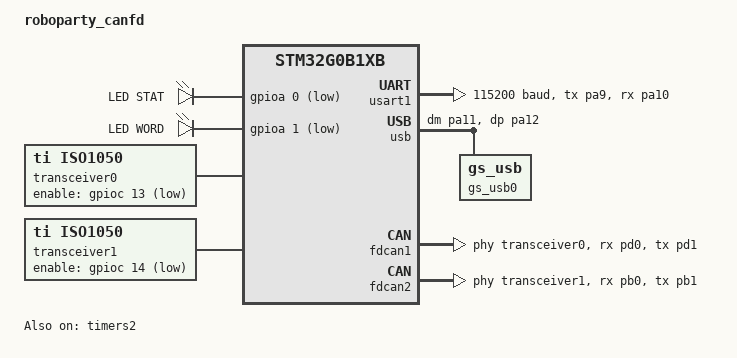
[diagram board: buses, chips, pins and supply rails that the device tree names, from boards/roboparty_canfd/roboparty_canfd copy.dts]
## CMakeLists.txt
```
# SPDX-License-Identifier: Apache-2.0

cmake_minimum_required(VERSION 3.20.0)

set(CMAKE_EXPORT_COMPILE_COMMANDS ON)
set(BOARD_ROOT ${CMAKE_CURRENT_LIST_DIR})
set(NO_BUILD_TYPE_WARNING TRUE)

find_package(Zephyr REQUIRED HINTS $ENV{ZEPHYR_BASE})
project(roboto_usb2can)

# Version definition
set(APP_VERSION_MAJOR 2)
set(APP_VERSION_MINOR 0)
set(APP_VERSION_PATCH 0)

# Get build date
string(TIMESTAMP BUILD_DATE "%Y%m%d" UTC)

configure_file(src/version.h.in ${CMAKE_CURRENT_BINARY_DIR}/src/version.h)
target_include_directories(app PRIVATE ${CMAKE_CURRENT_BINARY_DIR}/src)

target_sources(app PRIVATE src/main.c src/led.c)

# Print version info for reference
message(STATUS "Building roboto_usb2can v${APP_VERSION_MAJOR}.${APP_VERSION_MINOR}.${APP_VERSION_PATCH} (${BUILD_DATE})")

# Define version as compile definitions
target_compile_definitions(app PRIVATE
  APP_VERSION_MAJOR=${APP_VERSION_MAJOR}
  APP_VERSION_MINOR=${APP_VERSION_MINOR}
  APP_VERSION_PATCH=${APP_VERSION_PATCH}
  BUILD_DATE=\"${BUILD_DATE}\"
)

# Create versioned release files when building in Release mode
if(CMAKE_BUILD_TYPE STREQUAL "Release" OR NOT CMAKE_BUILD_TYPE)
  set(VERSION_NAME "roboto_usb2can_v${APP_VERSION_MAJOR}.${APP_VERSION_MINOR}.${APP_VERSION_PATCH}_${BUILD_DATE}")

  add_custom_target(release_files
    COMMAND ${CMAKE_COMMAND} -E copy_if_different
    ${CMAKE_CURRENT_BINARY_DIR}/zephyr/zephyr.bin
    ${CMAKE_CURRENT_BINARY_DIR}/zephyr/${VERSION_NAME}.bin
    COMMENT "Creating release binary: ${VERSION_NAME}.bin"
    VERBATIM
  )

  message(STATUS "Release mode: Will create versioned binary ${VERSION_NAME}.bin")
  message(STATUS "Run 'cmake --build . --target release_files' after build to generate release binary")
endif()
```

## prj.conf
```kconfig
# CAN Configuration
CONFIG_CAN=y
CONFIG_STATS=y
CONFIG_CAN_STATS=y
CONFIG_CAN_FD_MODE=n
CONFIG_CAN_LOG_LEVEL_DBG=n
CONFIG_DEPRECATION_TEST=y

# UDC Buffer
CONFIG_UDC_BUF_COUNT=128
CONFIG_UDC_BUF_POOL_SIZE=4096
CONFIG_HEAP_MEM_POOL_SIZE=2048
CONFIG_MAIN_STACK_SIZE=2048
CONFIG_SYSTEM_WORKQUEUE_STACK_SIZE=2048
CONFIG_ISR_STACK_SIZE=1536

# GS-USB Support - Legacy Driver
# CONFIG_USB_DEVICE_STACK=y
# CONFIG_USB_DEVICE_PRODUCT="roboto_usb2can"
# CONFIG_USB_DEVICE_MANUFACTURER="wentywenty"
# CONFIG_USB_DEVICE_VID=0x1D50
# CONFIG_USB_DEVICE_PID=0x606F
# CONFIG_USB_DEVICE_BOS=y
# CONFIG_USB_DEVICE_GS_USB=y
# CONFIG_USB_DEVICE_GS_USB_MAX_CHANNELS=2
# CONFIG_USB_DEVICE_GS_USB_LOG_LEVEL_DBG=y
# CONFIG_USB_DEVICE_GS_USB_IDENTIFICATION=y
# CONFIG_USB_DEVICE_GS_USB_TIMESTAMP=y
# CONFIG_USB_DEVICE_GS_USB_TERMINATION=n

# USB Configuration - New Stack
CONFIG_USB_DEVICE_STACK_NEXT=y
CONFIG_USB_DEVICE_INITIALIZE_AT_BOOT=n
# GS-USB Support - New Driver
CONFIG_USBD_GS_USB=y
CONFIG_USBD_GS_USB_MAX_CHANNELS=1
CONFIG_USBD_GS_USB_LOG_LEVEL_DBG=n
CONFIG_USBD_GS_USB_IDENTIFICATION=n
CONFIG_USBD_GS_USB_TIMESTAMP=n
CONFIG_USBD_GS_USB_TERMINATION=n
CONFIG_USBD_GS_USB_COMPATIBILITY_MODE=y
# Thread Priority Optimization
CONFIG_USBD_GS_USB_POOL_SIZE=64
CONFIG_USBD_GS_USB_RX_THREAD_PRIO=-1
CONFIG_USBD_GS_USB_TX_THREAD_PRIO=-1
CONFIG_USBD_GS_USB_RX_THREAD_STACK_SIZE=2048
CONFIG_USBD_GS_USB_TX_THREAD_STACK_SIZE=2048

# Logging
CONFIG_SERIAL=n
CONFIG_CONSOLE=n
CONFIG_LOG=n
CONFIG_USBD_LOG_LEVEL_WRN=n
CONFIG_USBD_GS_USB_LOG_LEVEL_INF=n
CONFIG_USBD_GS_USB_LOG_LEVEL_DBG=n
CONFIG_CAN_LOG_LEVEL_WRN=n
# CONFIG_USB_DRIVER_LOG_LEVEL_OFF=y
# CONFIG_LOG_MODE_DEFERRED=y
# CONFIG_LOG_DEFAULT_LEVEL=3
# CONFIG_LOG_BUFFER_SIZE=8192
# CONFIG_USE_SEGGER_RTT=n
# CONFIG_RTT_CONSOLE=n
# CONFIG_LOG_BACKEND_RTT=n
# CONFIG_LOG_BACKEND_UART=y
# CONFIG_UART_CONSOLE=y

# Disable Unnecessary Features
CONFIG_ASSERT=n
CONFIG_THREAD_NAME=n
CONFIG_THREAD_MONITOR=n
CONFIG_INIT_STACKS=n
CONFIG_DEBUG=n
CONFIG_SIZE_OPTIMIZATIONS=y
# CONFIG_THREAD_STACK_INFO=n
```

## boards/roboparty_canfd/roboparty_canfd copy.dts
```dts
/dts-v1/;
/*
 * Copyright (c) 2024 Sean Nyekjaer <sean@geanix.com>
 *
 *  SPDX-License-Identifier: Apache-2.0
 */

#include <st/g0/stm32g0b1Xb.dtsi>
#include <st/g0/stm32g0b1r(b-c-e)tx-pinctrl.dtsi>

/ {
    model = "roboparty_canfd";
    compatible = "candlelightfd";

    chosen {
        zephyr,sram = &sram0;
        zephyr,flash = &flash0;
        zephyr,code-partition = &slot0_partition;
        zephyr,canbus = &fdcan1;
        zephyr,console = &usart1;  /* 添加控制台 */
        zephyr,shell-uart = &usart1;  /* 添加 shell */
    };

    aliases {
        led0 = &led_stat;           // 主状态指示灯
        mcuboot-led0 = &led_word;   // DFU 指示灯
    };

    leds {
        compatible = "gpio-leds";

        led_stat: led_stat {
            gpios = <&gpioa 0 GPIO_ACTIVE_LOW>;
            label = "LED STAT";
        };

        led_word: led_word {
            gpios = <&gpioa 1 GPIO_ACTIVE_LOW>;
            label = "LED WORD";
        };
    };

    transceiver0: can-phy0 {
        compatible = "ti,iso1050", "can-transceiver-gpio";
        enable-gpios = <&gpioc 13 GPIO_ACTIVE_LOW>;  /* 使用未使用的引脚 */
        max-bitrate = <5000000>;
        #phy-cells = <0>;
    };

    transceiver1: can-phy1 {
        compatible = "ti,iso1050", "can-transceiver-gpio";
        enable-gpios = <&gpioc 14 GPIO_ACTIVE_LOW>;  /* 使用未使用的引脚 */
        max-bitrate = <5000000>;
        #phy-cells = <0>;
    };

    cannectivity: cannectivity {
        compatible = "cannectivity";
        timestamp-counter = <&counter2>;

        channel0 {
            compatible = "cannectivity-channel";
            can-controller = <&fdcan1>;
            // state-led = <&led_stat>;
            // activity-leds = <&led_stat>;
        };

        channel1 {
            compatible = "cannectivity-channel";
            can-controller = <&fdcan2>;
            // state-led = <&led_word>;
            // activity-leds = <&led_word>;
        };
    };
};

&clk_hsi {
    status = "okay";
};

&clk_hsi48 {
    status = "okay";
    // crs-usb-sof;
};

&pll {
    div-m = <1>;
    mul-n = <8>;
    div-p = <2>;
    div-q = <2>;
    div-r = <2>;
    clocks = <&clk_hsi>;
    status = "okay";
};

&rcc {
    clocks = <&pll>;
    clock-frequency = <DT_FREQ_M(64)>;
    ahb-prescaler = <1>;
    apb1-prescaler = <1>;
};

&usart1 {
    pinctrl-0 = <&usart1_tx_pa9 &usart1_rx_pa10>;
    pinctrl-names = "default";
    current-speed = <115200>;
    status = "okay";
};

zephyr_udc0: &usb {
    pinctrl-0 = <&usb_dm_pa11 &usb_dp_pa12>;
    pinctrl-names = "default";
    status = "okay";

    /* gs_usb 设备节点 */
    gs_usb0: gs_usb0 {
        compatible = "gs_usb";
    };
};

&fdcan1 {
    clocks = <&rcc STM32_CLOCK(APB1, 12)>,
         <&rcc STM32_SRC_PLL_Q FDCAN_SEL(1)>;
    pinctrl-0 = <&fdcan1_rx_pd0 &fdcan1_tx_pd1>;
    pinctrl-names = "default";
    phys = <&transceiver0>; 
    status = "okay";
};

&fdcan2 {
    clocks = <&rcc STM32_CLOCK(APB1, 12)>,
         <&rcc STM32_SRC_PLL_Q FDCAN_SEL(1)>;
    pinctrl-0 = <&fdcan2_rx_pb0 &fdcan2_tx_pb1>;
    pinctrl-names = "default";
    phys = <&transceiver1>;
    status = "okay";
};

/* 1MHz 时间戳计数器 (64MHz / 64 = 1MHz) */
&timers2 {
    status = "okay";
    st,prescaler = <63>;

    counter2: counter {
        compatible = "st,stm32-counter";
        status = "okay";
    };
};

&flash0 {
    partitions {
        compatible = "fixed-partitions";
        #address-cells = <1>;
        #size-cells = <1>;

        boot_partition: partition@0 {
            label = "mcuboot";
            reg = <0x00000000 DT_SIZE_K(48)>;
            read-only;
        };

        slot0_partition: partition@c000 {
            label = "image-0";
            reg = <0x0000c000 DT_SIZE_K(80)>;
        };
    };
};
```

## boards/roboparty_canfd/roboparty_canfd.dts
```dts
/dts-v1/;
/*
 * Copyright (c) 2025 roboparty <2321901849@qq.com>
 *
 *  SPDX-License-Identifier: Apache-2.0
 */

#include <st/g4/stm32g431X8.dtsi>
#include <st/g4/stm32g431c(6-8-b)tx-pinctrl.dtsi>

/ {
    model = "roboparty_canfd";
    compatible = "candlelightfd";

    chosen {
        zephyr,sram = &sram0;
        zephyr,flash = &flash0;
        zephyr,canbus = &fdcan1;
    };

	aliases {
		led0 = &blue_led;
		led1 = &green_led;
	};

	leds: leds {
		compatible = "gpio-leds";

		blue_led: led_2 {
			gpios = <&gpioa 15 GPIO_ACTIVE_LOW>;
			label = "blue-status D2";
		};

		green_led: led_3 {
			gpios = <&gpioa 0 GPIO_ACTIVE_LOW>;
			label = "green-word D3";
		};
	};

    transceiver0: can-phy0 {
        compatible = "ti,iso1050", "can-transceiver-gpio";
        enable-gpios = <&gpioc 13 GPIO_ACTIVE_LOW>; 
        max-bitrate = <5000000>;
        #phy-cells = <0>;
    };

    transceiver1: can-phy1 {
        compatible = "ti,iso1050", "can-transceiver-gpio";
        enable-gpios = <&gpioc 14 GPIO_ACTIVE_LOW>; 
        max-bitrate = <5000000>;
        #phy-cells = <0>;
    };

    cannectivity: cannectivity {
        compatible = "cannectivity";
		timestamp-counter = <&counters2>;

        channel0 {
            compatible = "cannectivity-channel";
            can-controller = <&fdcan1>;
			state-led = <&blue_led>;
			activity-leds = <&green_led>;
        };
    };

    gs_usb0: gs_usb0 {
		compatible = "gs_usb";
		label = "gs_usb";
	};
};

&clk_hsi {
    status = "okay";
};

&clk_hsi48 {
    status = "okay";
    // crs-usb-sof;
};

/* Adjust the pll for a SYSTEM Clock of 160 MHz  */
&pll {
	div-m = <4>;
	mul-n = <80>;
	div-p = <2>;
	div-q = <4>;
	div-r = <2>;
	clocks = <&clk_hsi>;
	status = "okay";
};

&rcc {
	clocks = <&pll>;
	clock-frequency = <DT_FREQ_M(160)>;
	ahb-prescaler = <1>;
	apb1-prescaler = <1>;
	apb2-prescaler = <1>;
};

zephyr_udc0: &usb {
	pinctrl-0 = <&usb_dm_pa11 &usb_dp_pa12>;
	pinctrl-names = "default";
	clocks = <&rcc STM32_CLOCK(APB1, 23)>,
		 <&rcc STM32_SRC_HSI48 CLK48_SEL(0)>;
	status = "okay";
};

&fdcan1 {
	pinctrl-0 = <&fdcan1_rx_pb8 &fdcan1_tx_pb9>;
	pinctrl-names = "default";
	clocks = <&rcc STM32_CLOCK(APB1, 25)>,
		 <&rcc STM32_SRC_PLL_Q FDCAN_SEL(1)>;
	status = "okay";
};

/* 1MHz Timestamp Counter (64MHz / 64 = 1MHz) */
stm32_lp_tick_source: &lptim1 {
	clocks = <&rcc STM32_CLOCK(APB1, 31)>,
		 <&rcc STM32_SRC_LSI LPTIM1_SEL(3)>;
		//  <&rcc STM32_SRC_LSE LPTIM1_SEL(3)>;
	status = "okay";
};

&timers2 {
	st,prescaler = <159>;
	counters2: counter {
		status = "okay";
	};
};
```

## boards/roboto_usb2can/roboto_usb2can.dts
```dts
/dts-v1/;
/*
 * Copyright (c) 2025 roboparty <2321901849@qq.com>
 *
 *  SPDX-License-Identifier: Apache-2.0
 */

#include <st/g4/stm32g431X8.dtsi>
#include <st/g4/stm32g431c(6-8-b)tx-pinctrl.dtsi>

/ {
    model = "roboto_usb2can";
    compatible = "candlelightfd";

    chosen {
        zephyr,sram = &sram0;
        zephyr,flash = &flash0;
        zephyr,canbus = &fdcan1;
    };

	aliases {
		led0 = &blue_led;
		led1 = &green_led;
	};

	leds: leds {
		compatible = "gpio-leds";

		blue_led: led_2 {
			gpios = <&gpioa 15 GPIO_ACTIVE_LOW>;
			label = "blue-status D2";
		};

		green_led: led_3 {
			gpios = <&gpioa 0 GPIO_ACTIVE_LOW>;
			label = "green-word D3";
		};
	};

    transceiver0: can-phy0 {
        compatible = "ti,iso1050", "can-transceiver-gpio";
        enable-gpios = <&gpioc 13 GPIO_ACTIVE_LOW>; 
        max-bitrate = <5000000>;
        #phy-cells = <0>;
    };

    transceiver1: can-phy1 {
        compatible = "ti,iso1050", "can-transceiver-gpio";
        enable-gpios = <&gpioc 14 GPIO_ACTIVE_LOW>; 
        max-bitrate = <5000000>;
        #phy-cells = <0>;
    };

    cannectivity: cannectivity {
        compatible = "cannectivity";
		timestamp-counter = <&counters2>;

        channel0 {
            compatible = "cannectivity-channel";
            can-controller = <&fdcan1>;
			state-led = <&blue_led>;
			activity-leds = <&green_led>;
        };
    };

    gs_usb0: gs_usb0 {
		compatible = "gs_usb";
		label = "gs_usb";
	};
};

&clk_hsi {
    status = "okay";
};

&clk_hsi48 {
    status = "okay";
    // crs-usb-sof;
};

/* Adjust the pll for a SYSTEM Clock of 160 MHz  */
&pll {
	div-m = <4>;
	mul-n = <80>;
	div-p = <2>;
	div-q = <4>;
	div-r = <2>;
	clocks = <&clk_hsi>;
	status = "okay";
};

&rcc {
	clocks = <&pll>;
	clock-frequency = <DT_FREQ_M(160)>;
	ahb-prescaler = <1>;
	apb1-prescaler = <1>;
	apb2-prescaler = <1>;
};

zephyr_udc0: &usb {
	pinctrl-0 = <&usb_dm_pa11 &usb_dp_pa12>;
	pinctrl-names = "default";
	clocks = <&rcc STM32_CLOCK(APB1, 23)>,
		 <&rcc STM32_SRC_HSI48 CLK48_SEL(0)>;
	status = "okay";
};

&fdcan1 {
	pinctrl-0 = <&fdcan1_rx_pb8 &fdcan1_tx_pb9>;
	pinctrl-names = "default";
	clocks = <&rcc STM32_CLOCK(APB1, 25)>,
		 <&rcc STM32_SRC_PLL_Q FDCAN_SEL(1)>;
	status = "okay";
};

/* 1MHz Timestamp Counter (64MHz / 64 = 1MHz) */
stm32_lp_tick_source: &lptim1 {
	clocks = <&rcc STM32_CLOCK(APB1, 31)>,
		 <&rcc STM32_SRC_LSI LPTIM1_SEL(3)>;
		//  <&rcc STM32_SRC_LSE LPTIM1_SEL(3)>;
	status = "okay";
};

&timers2 {
	st,prescaler = <159>;
	counters2: counter {
		status = "okay";
	};
};
```

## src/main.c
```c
#include "roboto_usb2can.h"

LOG_MODULE_REGISTER(main, LOG_LEVEL_INF);

#ifdef CONFIG_USB_DEVICE_STACK_NEXT
/* New USB stack: Define USB device context */
USBD_DEVICE_DEFINE(usbd, DEVICE_DT_GET(DT_NODELABEL(zephyr_udc0)), 0x1D50, 0x606F);

USBD_DESC_LANG_DEFINE(lang);
USBD_DESC_MANUFACTURER_DEFINE(mfr, "wentywenty");
USBD_DESC_PRODUCT_DEFINE(product, "roboto_usb2can");
USBD_DESC_SERIAL_NUMBER_DEFINE(sn);
USBD_DESC_CONFIG_DEFINE(fs_config_desc, "Full-Speed Configuration");
USBD_CONFIGURATION_DEFINE(fs_config, 0, 250, &fs_config_desc);
#endif

/**
 * @brief Microsoft OS 2.0 descriptor vendor request handler
 *
 * Handles Windows-specific vendor requests for MSOS 2.0 descriptors,
 * enabling automatic WinUSB driver binding without manual driver installation.
 *
 * @param ctx USB device context
 * @param setup USB setup packet containing the request
 * @param buf Network buffer for response data
 * @return 0 on success, -ENOTSUP for unsupported requests
 */
static int msos_vendor_handler(const struct usbd_context *const ctx,
			       const struct usb_setup_packet *const setup,
			       struct net_buf *const buf)
{
	if (setup->bRequest == 0x01 && setup->wIndex == MS_OS_20_DESCRIPTOR_INDEX) {
		size_t len = sizeof(msos2_desc);
		net_buf_add_mem(buf, &msos2_desc, MIN(net_buf_tailroom(buf), len));
		LOG_INF("Windows requested MSOS2 descriptor");
		return 0;
	}
	return -ENOTSUP;
}

/* Register BOS Descriptors */
USBD_DESC_BOS_DEFINE(bos_lpm, sizeof(bos_cap_lpm), &bos_cap_lpm);
USBD_DESC_BOS_VREQ_DEFINE(bos_msosv2, sizeof(bos_cap_msosv2), &bos_cap_msosv2, 0x01,
			  msos_vendor_handler, NULL);

/**
 * @brief CAN state change callback - Error monitoring and protection
 *
 * This callback monitors CAN bus state changes and implements error protection
 * mechanisms including error frame flood detection and automatic bus-off recovery.
 *
 * @param dev Pointer to the CAN device
 * @param state Current CAN bus state
 * @param err_cnt CAN error counters (TX/RX)
 * @param user_data User data pointer (channel index)
 */
static void can_state_change_callback(const struct device *dev, enum can_state state,
				      struct can_bus_err_cnt err_cnt, void *user_data)
{
	int ch = 0; /* Currently only supports single channel, multi-channel needs matching via
		       user_data or dev */
	struct can_error_monitor *mon = &err_monitors[ch];
	int64_t now = k_uptime_get();

	/* Reset statistics window */
	if ((now - mon->window_start_ms) > CAN_ERR_WINDOW_MS) {
		mon->err_frame_count = 0;
		mon->window_start_ms = now;
		mon->throttled = false;
	}

	/* Error frame count */
	if (state != CAN_STATE_ERROR_ACTIVE) {
		mon->err_frame_count++;
	}

	/* Error frame flood detection */
	if (mon->err_frame_count > CAN_ERR_FRAME_THRESHOLD) {
		if (!mon->throttled) {
			LOG_ERR("CH%d: Error frame flood detected (%u/s), throttling", ch,
				mon->err_frame_count);
			mon->throttled = true;
			/* USB error and CAN error */
			status_led_usb_set(LED_USB_ERROR);
			status_led_can_set(CAN_LED_ERROR);
		}
		/* Actively enter Bus-Off to protect bus */
		if (!mon->forced_busoff) {
			LOG_ERR("CH%d: Forcing Bus-Off to prevent bus freeze", ch);
			can_stop(dev);
			mon->forced_busoff = true;
			return;
		}
	}

	/* Handle different error states */
	switch (state) {
	case CAN_STATE_ERROR_ACTIVE:
		LOG_DBG("CH%d: CAN ERROR_ACTIVE (TEC=%u, REC=%u)", ch, err_cnt.tx_err_cnt,
			err_cnt.rx_err_cnt);
		mon->err_passive_count = 0; /* Reset count after recovery */
		mon->forced_busoff = false;
		/* CAN back to normal */
		status_led_can_set(CAN_LED_ACTIVE);
		break;

	case CAN_STATE_ERROR_WARNING:
		LOG_WRN("CH%d: CAN ERROR_WARNING (TEC=%u, REC=%u)", ch, err_cnt.tx_err_cnt,
			err_cnt.rx_err_cnt);
		/* CAN warning state */
		status_led_can_set(CAN_LED_WARNING);
		break;

	case CAN_STATE_ERROR_PASSIVE:
		mon->err_passive_count++;
		LOG_WRN("CH%d: CAN ERROR_PASSIVE #%u (TEC=%u, REC=%u)", ch, mon->err_passive_count,
			err_cnt.tx_err_cnt, err_cnt.rx_err_cnt);
		/* CAN error state */
		status_led_can_set(CAN_LED_ERROR);

		/* Persistent ERROR_PASSIVE -> active Bus-Off */
		if (mon->err_passive_count > CAN_ERR_PASSIVE_LIMIT) {
			LOG_ERR("CH%d: Persistent ERROR_PASSIVE (%u times), forcing Bus-Off", ch,
				mon->err_passive_count);
			can_stop(dev);
			mon->forced_busoff = true;
			/* USB error and CAN off */
			status_led_usb_set(LED_USB_ERROR);
			status_led_can_set(CAN_LED_OFF);
		}
		break;

	case CAN_STATE_BUS_OFF:
		LOG_ERR("CH%d: CAN BUS_OFF (TEC=%u, REC=%u)", ch, err_cnt.tx_err_cnt,
			err_cnt.rx_err_cnt);
		mon->forced_busoff = true;
		/* USB error and CAN off */
		status_led_usb_set(LED_USB_ERROR);
		status_led_can_set(CAN_LED_OFF);
		break;

	case CAN_STATE_STOPPED:
		LOG_INF("CH%d: CAN STOPPED", ch);
		/* CAN stopped */
		status_led_can_set(CAN_LED_OFF);
		break;
	}
}

/**
 * @brief Main application entry point
 *
 * Initializes the roboto_usb2can adapter including:
 * - Status LED system
 * - CAN error monitoring
 * - GS-USB protocol stack
 * - USB device configuration (WinUSB support)
 *
 * @return 0 on success, negative error code on failure
 */
int main(void)
{
	const struct device *gs_usb = DEVICE_DT_GET(DT_NODELABEL(gs_usb0));
	const struct device *channels[] = {DEVICE_DT_GET(DT_NODELABEL(fdcan1))};
	struct gs_usb_ops ops = {
		.event = status_led_event,
	};
	int err;

	/* Initialize status LED */
	err = status_led_init();
	if (err) {
		LOG_ERR("Failed to initialize status LED (err %d)", err);
	}

	printk("*** roboto_usb2can adapter v%s ***\n", APP_VERSION_STR);

	/* Initialize CAN error monitoring */
	for (int i = 0; i < ARRAY_SIZE(can_devices); i++) {
		if (!device_is_ready(can_devices[i])) {
			LOG_ERR("CAN device %d not ready", i);
			continue;
		}

		/* Register CAN state change callback */
		can_set_state_change_callback(can_devices[i], can_state_change_callback,
					      (void *)(intptr_t)i);
		LOG_INF("CAN error monitoring enabled for channel %d", i);

		/* Initialize error monitor */
		err_monitors[i].window_start_ms = k_uptime_get();
	}

	if (!device_is_ready(gs_usb)) {
		LOG_ERR("gs_usb not ready");
		return -1;
	}

	/* Register gs_usb device and channels, and set event callback */
	err = gs_usb_register(gs_usb, channels, ARRAY_SIZE(channels), &ops, NULL);
	if (err != 0) {
		LOG_ERR("failed to register gs_usb (err %d)", err);
		return err;
	}

#ifdef CONFIG_USB_DEVICE_STACK_NEXT
	/* New USB stack initialization */
	err = usbd_add_descriptor(&usbd, &lang);
	if (err != 0) {
		LOG_ERR("failed to add language descriptor (err %d)", err);
		return err;
	}

	err = usbd_add_descriptor(&usbd, &mfr);
	if (err != 0) {
		LOG_ERR("failed to add manufacturer descriptor (err %d)", err);
		return err;
	}

	err = usbd_add_descriptor(&usbd, &product);
	if (err != 0) {
		LOG_ERR("failed to add product descriptor (err %d)", err);
		return err;
	}

	err = usbd_add_descriptor(&usbd, &sn);
	if (err != 0) {
		LOG_ERR("failed to add serial number descriptor (err %d)", err);
		return err;
	}

	err = usbd_add_configuration(&usbd, USBD_SPEED_FS, &fs_config);
	if (err != 0) {
		LOG_ERR("failed to add full-speed configuration (err %d)", err);
		return err;
	}

	err = usbd_register_class(&usbd, "gs_usb_0", USBD_SPEED_FS, 1);
	if (err != 0) {
		LOG_ERR("failed to register gs_usb class (err %d)", err);
		return err;
	}

	err = usbd_device_set_code_triple(&usbd, USBD_SPEED_FS, 0, 0, 0);
	if (err != 0) {
		LOG_ERR("failed to set code triple (err %d)", err);
		return err;
	}

	/* Set USB version to 2.0.1 to trigger BOS descriptor read (required for WinUSB) */
	err = usbd_device_set_bcd_usb(&usbd, USBD_SPEED_FS, USB_SRN_2_0_1);
	if (err != 0) {
		LOG_ERR("failed to set FS bcdUSB (err %d)", err);
		return err;
	}

	/* Set device version */
	err = usbd_device_set_bcd_device(&usbd, APP_VERSION_BCD);
	if (err != 0) {
		LOG_ERR("failed to set bcdDevice (err %d)", err);
		return err;
	}

	err = usbd_add_descriptor(&usbd, &bos_lpm);
	if (err != 0) {
		LOG_ERR("failed to add BOS LPM descriptor (err %d)", err);
		return err;
	}

	err = usbd_add_descriptor(&usbd, &bos_msosv2);
	if (err != 0) {
		LOG_ERR("failed to add BOS MSOS2 descriptor (err %d)", err);
		return err;
	}

	err = usbd_init(&usbd);
	if (err != 0) {
		LOG_ERR("failed to initialize USB device (err %d)", err);
		return err;
	}

	err = usbd_enable(&usbd);
	if (err != 0) {
		LOG_ERR("failed to enable USB device (err %d)", err);
		return err;
	}
#else
	/* Old USB stack */
	err = usb_enable(NULL);
	if (err != 0) {
		LOG_ERR("failed to enable USB (err %d)", err);
		return err;
	}
#endif

	LOG_INF("roboto_usb2can initialized with %u channels", ARRAY_SIZE(channels));

	/* Set LED to USB ready state */
	status_led_usb_set(LED_USB_READY);
	LOG_INF("WinUSB support enabled - plug and play on Windows 8.1+");

	return 0;
}
```

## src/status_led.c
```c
/*
 * Status LED management for roboto_usb2can
 */

#include "status_led.h"
#include <cannectivity/usb/class/gs_usb.h>
#include <zephyr/device.h>
#include <zephyr/drivers/gpio.h>
#include <zephyr/kernel.h>
#include <zephyr/logging/log.h>

LOG_MODULE_REGISTER(status_led, LOG_LEVEL_INF);

/* Spurious STOPPED event filtering (prevent Linux 5/6.1 kernel bug) */
#define MIN_STOP_INTERVAL_MS 1000 /* STOP events within 1 second are considered abnormal */
static k_timepoint_t last_stopped_time;

/* LED activity timer */
#define LED_TICK_MS        50 /* Timer triggers every 50ms */
#define LED_TICKS_ACTIVITY 2  /* Activity LED on for 2 ticks (100ms) */

static struct k_timer activity_tick_timer;
static k_timepoint_t last_activity_time;
static int activity_ticks = 0;

/* LED blink patterns */
struct led_pattern {
	uint16_t on_ms;  // Duration on
	uint16_t off_ms; // Duration off
	int8_t repeat;   // Repeat count (-1=infinite loop)
};

/* Blink patterns for each status */
static const struct led_pattern led_patterns[] = {
	[LED_STATUS_INIT] = {100, 100, 3},       // Fast blink 3 times (initialization)
	[LED_STATUS_IDLE] = {100, 1900, -1},     // Slow blink (2s period)
	[LED_STATUS_USB_READY] = {500, 500, -1}, // Medium blink (1s period)
	[LED_STATUS_CAN_ACTIVE] = {50, 50, 1},   // Short blink 1 time (CAN activity)
	[LED_STATUS_ERROR] = {100, 100, -1},     // Fast blink (error)
};

/* LED hardware definitions */
static const struct gpio_dt_spec status_led = GPIO_DT_SPEC_GET(DT_ALIAS(led0), gpios);
static const struct gpio_dt_spec activity_led = GPIO_DT_SPEC_GET(DT_ALIAS(led1), gpios);

/* Work queue */
static struct k_work_delayable led_work;
static struct k_work_delayable activity_work; // Activity LED work queue
static enum led_status current_status = LED_STATUS_INIT;
static int current_repeat_count = 0;
static bool led_state = false;

/* LED blink work */
static void led_blink_work(struct k_work *work)
{
	const struct led_pattern *pattern = &led_patterns[current_status];
	uint32_t next_delay;

	/* Toggle LED state */
	led_state = !led_state;
	gpio_pin_set_dt(&status_led, led_state);

	/* Calculate next trigger time */
	if (led_state) {
		next_delay = pattern->on_ms;
	} else {
		next_delay = pattern->off_ms;

		/* Check repeat count */
		if (pattern->repeat > 0) {
			current_repeat_count++;
			if (current_repeat_count >= pattern->repeat) {
				/* Completed specified count, stop */
				gpio_pin_set_dt(&status_led, 0);
				return;
			}
		}
	}

	/* Reschedule work */
	k_work_reschedule(&led_work, K_MSEC(next_delay));
}

/* Activity LED turn off work */
static void activity_led_off_work(struct k_work *work)
{
	gpio_pin_set_dt(&activity_led, 0);
}

/* Activity LED timer callback (triggers every 50ms) */
static void activity_tick_handler(struct k_timer *timer)
{
	ARG_UNUSED(timer);

	if (activity_ticks > 0) {
		activity_ticks--;
		if (activity_ticks == (LED_TICKS_ACTIVITY / 2)) {
			/* Turn on after middle tick */
			gpio_pin_set_dt(&activity_led, 1);
		} else if (activity_ticks == 0) {
			/* Turn off at end */
			gpio_pin_set_dt(&activity_led, 0);
		}
	}
}

/* Initialize status LED */
int status_led_init(void)
{
	int ret;

	if (!gpio_is_ready_dt(&status_led)) {
		LOG_ERR("Status LED GPIO not ready");
		return -ENODEV;
	}

	ret = gpio_pin_configure_dt(&status_led, GPIO_OUTPUT_INACTIVE);
	if (ret < 0) {
		LOG_ERR("Failed to configure status LED: %d", ret);
		return ret;
	}

	/* Initialize Activity LED (Green) */
	if (!gpio_is_ready_dt(&activity_led)) {
		LOG_WRN("Activity LED GPIO not ready");
	} else {
		ret = gpio_pin_configure_dt(&activity_led, GPIO_OUTPUT_INACTIVE);
		if (ret < 0) {
			LOG_WRN("Failed to configure activity LED: %d", ret);
		} else {
			k_work_init_delayable(&activity_work, activity_led_off_work);
			LOG_INF("Activity LED initialized");
		}
	}

	/* Initialize work queue */
	k_work_init_delayable(&led_work, led_blink_work);

	/* Initialize activity LED timer */
	k_timer_init(&activity_tick_timer, activity_tick_handler, NULL);
	k_timer_start(&activity_tick_timer, K_MSEC(LED_TICK_MS), K_MSEC(LED_TICK_MS));
	last_activity_time = sys_timepoint_calc(K_NO_WAIT);
	last_stopped_time = sys_timepoint_calc(K_NO_WAIT); /* Initialize STOPPED filter */

	/* Start initialization blink */
	status_led_set(LED_STATUS_INIT);

	LOG_INF("Status LED initialized");
	return 0;
}

/* Set LED status */
void status_led_set(enum led_status status)
{
	if (status >= ARRAY_SIZE(led_patterns)) {
		LOG_ERR("Invalid LED status: %d", status);
		return;
	}

	/* Cancel current blink */
	k_work_cancel_delayable(&led_work);

	current_status = status;
	current_repeat_count = 0;
	led_state = false;

	/* Start new blink pattern */
	const struct led_pattern *pattern = &led_patterns[status];
	gpio_pin_set_dt(&status_led, 1);
	k_work_reschedule(&led_work, K_MSEC(pattern->on_ms));

	LOG_DBG("LED status changed to %d", status);
}

/* CAN activity indication (independently controls green LED, does not affect blue LED) */
void status_led_can_activity(void)
{
	if (!gpio_is_ready_dt(&activity_led)) {
		return;
	}

	/* Use timer counter method */
	activity_ticks = LED_TICKS_ACTIVITY;
}

/* gs_usb event callback function */
int status_led_event(const struct device *dev, uint16_t ch, enum gs_usb_event event,
		     void *user_data)
{
	ARG_UNUSED(dev);
	ARG_UNUSED(ch);
	ARG_UNUSED(user_data);

	switch (event) {
	case GS_USB_EVENT_CHANNEL_ACTIVITY_RX:
		__fallthrough;
	case GS_USB_EVENT_CHANNEL_ACTIVITY_TX:
		/* Low-pass filter: prevent LED from blinking too fast */
		if (!sys_timepoint_expired(last_activity_time)) {
			return 0; /* Ignore frequent events */
		}
		last_activity_time = sys_timepoint_calc(K_MSEC(LED_TICK_MS * LED_TICKS_ACTIVITY));
		status_led_can_activity();
		break;

	case GS_USB_EVENT_CHANNEL_STARTED:
		LOG_DBG("Channel %u started", ch);
		last_stopped_time = sys_timepoint_calc(K_NO_WAIT); /* Reset STOPPED filter */
		status_led_set(LED_STATUS_USB_READY);
		break;

	case GS_USB_EVENT_CHANNEL_STOPPED:
		/* Filter spurious STOP events from Linux 5/6.1 */
		if (!sys_timepoint_expired(last_stopped_time)) {
			LOG_WRN("Channel %u: Ignoring spurious STOPPED event (possible Linux "
				"kernel bug)",
				ch);
			return 0; /* Ignore spurious events */
		}
		last_stopped_time = sys_timepoint_calc(K_MSEC(MIN_STOP_INTERVAL_MS));
		LOG_DBG("Channel %u stopped", ch);
		status_led_set(LED_STATUS_IDLE);
		break;

	default:
		/* Ignore other events */
		break;
	}

	return 0;
}

/* Set LED on or off constantly */
void status_led_set_static(bool on)
{
	k_work_cancel_delayable(&led_work);
	gpio_pin_set_dt(&status_led, on);
}
```

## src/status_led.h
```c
#ifndef STATUS_LED_H_
#define STATUS_LED_H_

#include <cannectivity/usb/class/gs_usb.h>

/* LED Status Enumeration */
enum led_status {
	LED_STATUS_INIT,       // Initializing (3 quick blinks)
	LED_STATUS_IDLE,       // Idle (slow blink, 2s cycle)
	LED_STATUS_USB_READY,  // USB connected (medium-speed blink, 1s cycle)
	LED_STATUS_CAN_ACTIVE, // CAN active (short blinks)
	LED_STATUS_ERROR,      // Error (rapid blinking)
};

/* Initialize the status LED */
int status_led_init(void);

/* Set LED status mode */
void status_led_set(enum led_status status);

/* Indicate CAN bus activity */
void status_led_can_activity(void);

/* GS-USB event callback (For use with gs_usb_register) */
int status_led_event(const struct device *dev, uint16_t ch, enum gs_usb_event event,
		     void *user_data);

/* Set LED static on/off state */
void status_led_set_static(bool on);

#endif /* STATUS_LED_H_ */
```
